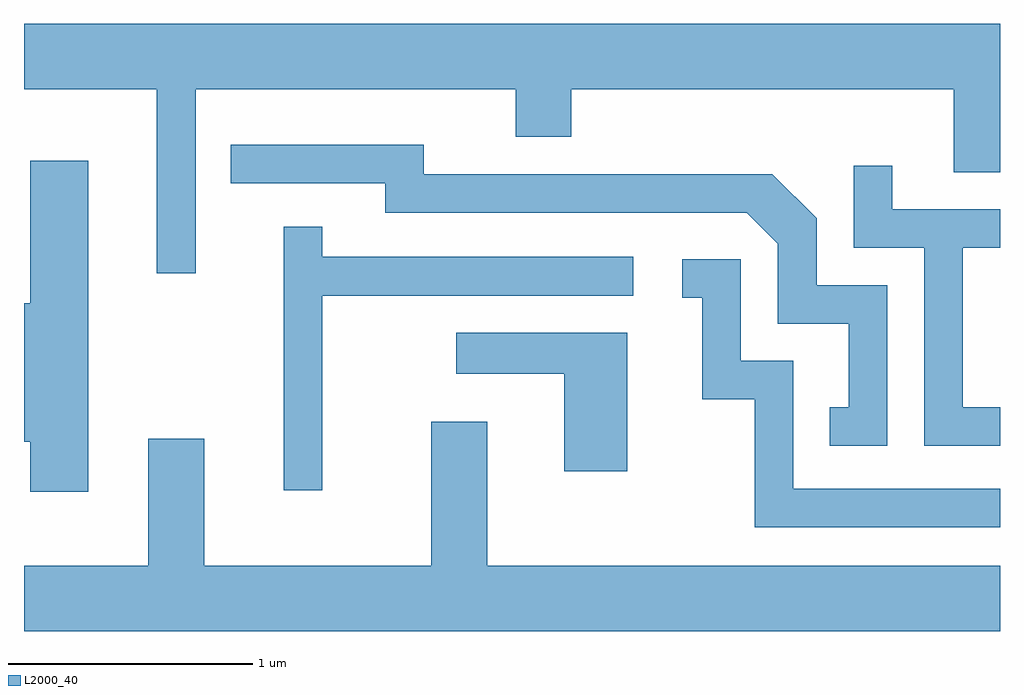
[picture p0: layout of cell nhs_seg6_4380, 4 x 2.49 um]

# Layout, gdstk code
import gdstk
lib = gdstk.Library(unit=1e-6, precision=1e-09)
def P(c, l, *ps):  # polygons
    for p in ps: c.add(gdstk.Polygon(p, *l))
L2000_40 = (2000, 40)

nhs_seg6_4380 = lib.new_cell('nhs_seg6_4380')
P(nhs_seg6_4380, L2000_40, [(320.314,1558.916),(321.626,1558.916),(321.626,1558.721),(321.854,1558.721),(321.854,1558.916),(323.421,1558.916),(323.421,1558.576),(323.611,1558.576),(323.611,1559.184),(319.611,1559.184),(319.611,1558.916),(320.156,1558.916),(320.156,1558.163),(320.314,1558.163)],
  [(323.149,1558.114),(322.859,1558.114),(322.859,1558.387),(322.677,1558.569),(321.249,1558.569),(321.249,1558.689),(320.458,1558.689),(320.458,1558.531),(321.091,1558.531),(321.091,1558.411),(322.574,1558.411),(322.701,1558.284),(322.701,1557.956),(322.991,1557.956),(322.991,1557.614),(322.913,1557.614),(322.913,1557.456),(323.149,1557.456)],
  [(319.874,1558.624),(319.636,1558.624),(319.636,1558.039),(319.611,1558.039),(319.611,1557.471),(319.636,1557.471),(319.636,1557.266),(319.874,1557.266)],
  [(323.611,1557.614),(323.459,1557.614),(323.459,1558.266),(323.611,1558.266),(323.611,1558.424),(323.169,1558.424),(323.169,1558.603),(323.011,1558.603),(323.011,1558.266),(323.301,1558.266),(323.301,1557.456),(323.611,1557.456)],
  [(320.834,1558.071),(322.108,1558.071),(322.108,1558.229),(320.834,1558.229),(320.834,1558.353),(320.676,1558.353),(320.676,1557.273),(320.834,1557.273)],
  [(323.611,1557.279),(322.764,1557.279),(322.764,1557.804),(322.549,1557.804),(322.549,1558.219),(322.308,1558.219),(322.308,1558.061),(322.391,1558.061),(322.391,1557.646),(322.606,1557.646),(322.606,1557.121),(323.611,1557.121)],
  [(322.084,1557.919),(321.383,1557.919),(321.383,1557.751),(321.826,1557.751),(321.826,1557.351),(322.084,1557.351)],
  [(323.611,1556.964),(321.509,1556.964),(321.509,1557.554),(321.281,1557.554),(321.281,1556.964),(320.349,1556.964),(320.349,1557.484),(320.121,1557.484),(320.121,1556.964),(319.611,1556.964),(319.611,1556.696),(323.611,1556.696)])

lib.write_gds('nhs_seg6_4380.gds')
